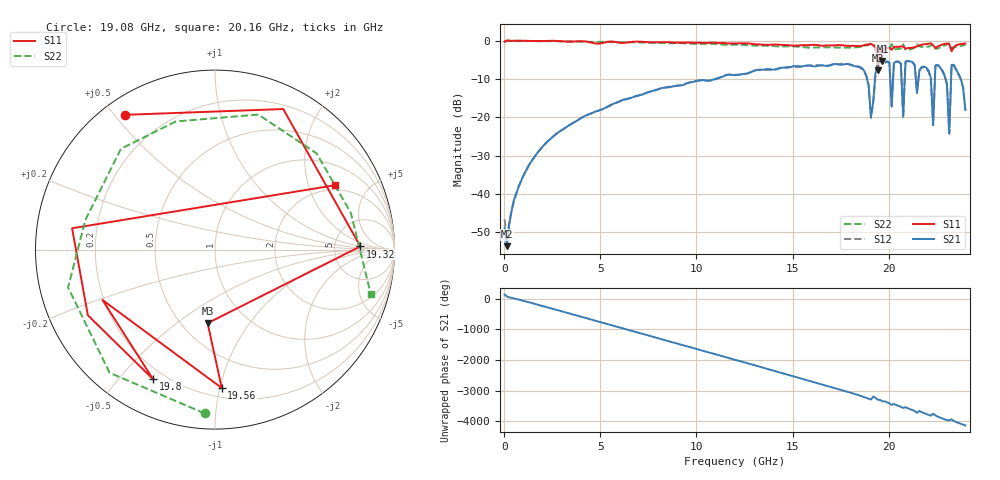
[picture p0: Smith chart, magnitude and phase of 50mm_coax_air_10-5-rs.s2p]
#  HZ  S  DB  R  50.00
! Rohde & Schwarz ZVA24 2Ports - Version 3.70 - 1145.1110k24 SN: 100407
! Date: 2016-10-05 20:11:46
! Measurements: S11 S21 S12 S22
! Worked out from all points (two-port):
!   201 points, 10 MHz to 24 GHz, reference 50 ohm
!   highest |S21| = -5.31 dB at 19.68 GHz (marker M1); lowest = -53.6 dB at 129.9 MHz (marker M2)
!   |S21| within 3 dB of the highest: 12.82 GHz to 18.76 GHz (5.946 GHz wide, 37.7 % of centre); 19.33 GHz to 20.07 GHz (737.5 MHz wide, 3.74 % of centre)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
!   lowest |S11| = -7.7 dB at 19.44 GHz (marker M3), VSWR 2.40, Z = 33.2 - j32.7 ohm
!   |S11| at or under -10 dB: nowhere
!   |S22| runs from -2.6 to 0.0 dB; largest |S21 - S12| = 0.028
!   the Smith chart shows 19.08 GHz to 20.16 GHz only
!   S11 on the Smith chart (normalised r, x): 19.08 GHz: 0.06, +0.53; 19.32 GHz: 9.42, +0.97; 19.56 GHz: 0.27, -1.01; 19.8 GHz: 0.15, -0.62; 20.16 GHz: 1.78, +3.01
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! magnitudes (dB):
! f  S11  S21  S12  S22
! 10 MHz  -0.3  -48.7  -46.6  -0.4
! 129.9 MHz  0.0  -53.6  -51.8  0.0
! 1.329 GHz  -0.1  -32.1  -32.0  -0.1
! 4.088 GHz  -0.2  -19.9  -19.9  -0.3
! 8.047 GHz  -0.4  -12.7  -12.6  -0.6
! 12.01 GHz  -0.7  -9.0  -8.9  -1.1
! 16.08 GHz  -1.1  -6.7  -6.4  -1.8
! 19.08 GHz  -0.9  -20.0  -20.2  -0.8
! 19.32 GHz  -1.8  -8.5  -8.6  -1.5
! 19.44 GHz  -7.7  -6.2  -6.0  -2.6
! 19.56 GHz  -2.2  -5.8  -5.6  -2.3
! 19.68 GHz  -3.3  -5.3  -5.1  -2.5
! 19.8 GHz  -1.9  -5.9  -6.0  -2.0
! 20.04 GHz  -1.9  -5.7  -5.7  -2.1
! 20.16 GHz  -2.4  -17.3  -17.0  -0.9
! 20.64 GHz  -1.5  -5.9  -6.2  -2.0
! 20.76 GHz  -1.6  -19.9  -20.2  -0.9
! 21 GHz  -1.9  -5.4  -5.3  -2.4
! 22.32 GHz  -1.2  -22.1  -22.1  -1.0
! 22.44 GHz  -1.9  -6.5  -6.5  -2.1
! 23.16 GHz  -0.9  -24.3  -24.1  -0.7
! 24 GHz  -0.8  -18.1  -18.2  -1.1
